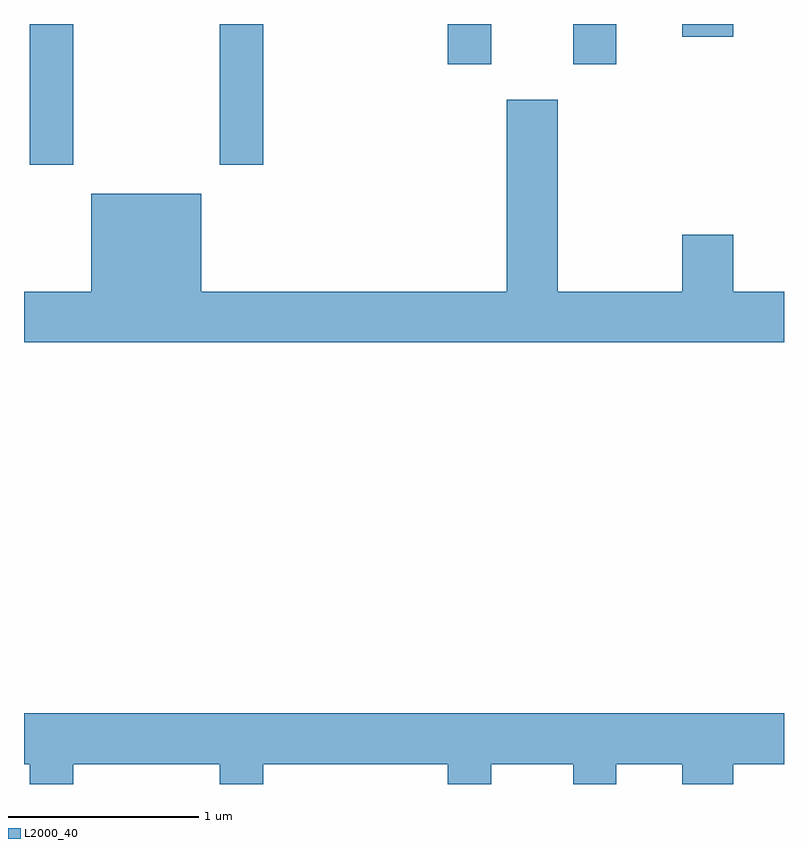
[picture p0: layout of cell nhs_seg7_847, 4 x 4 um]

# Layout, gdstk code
import gdstk
lib = gdstk.Library(unit=1e-6, precision=1e-09)
def R(c, l, rs):  # rectangles x0, y0, x1, y1
    for r in rs: c.add(gdstk.rectangle(r[:2], r[2:], *l))
def P(c, l, *ps):  # polygons
    for p in ps: c.add(gdstk.Polygon(p, *l))
L2000_40 = (2000, 40)

nhs_seg7_847 = lib.new_cell('nhs_seg7_847')
R(nhs_seg7_847, L2000_40, [(211.641,1677.511,211.869,1678.252), (212.641,1677.511,212.869,1678.252), (213.841,1678.041,214.069,1678.252), (214.501,1678.041,214.729,1678.252), (215.076,1678.186,215.344,1678.252)])
P(nhs_seg7_847, L2000_40, [(215.611,1676.844),(215.344,1676.844),(215.344,1677.144),(215.076,1677.144),(215.076,1676.844),(214.419,1676.844),(214.419,1677.854),(214.151,1677.854),(214.151,1676.844),(212.544,1676.844),(212.544,1677.359),(211.966,1677.359),(211.966,1676.844),(211.611,1676.844),(211.611,1676.576),(215.611,1676.576)],
  [(211.869,1674.356),(212.641,1674.356),(212.641,1674.252),(212.869,1674.252),(212.869,1674.356),(213.841,1674.356),(213.841,1674.252),(214.069,1674.252),(214.069,1674.356),(214.501,1674.356),(214.501,1674.252),(214.729,1674.252),(214.729,1674.356),(215.076,1674.356),(215.076,1674.252),(215.344,1674.252),(215.344,1674.356),(215.611,1674.356),(215.611,1674.624),(211.611,1674.624),(211.611,1674.356),(211.641,1674.356),(211.641,1674.252),(211.869,1674.252)])

lib.write_gds('nhs_seg7_847.gds')
